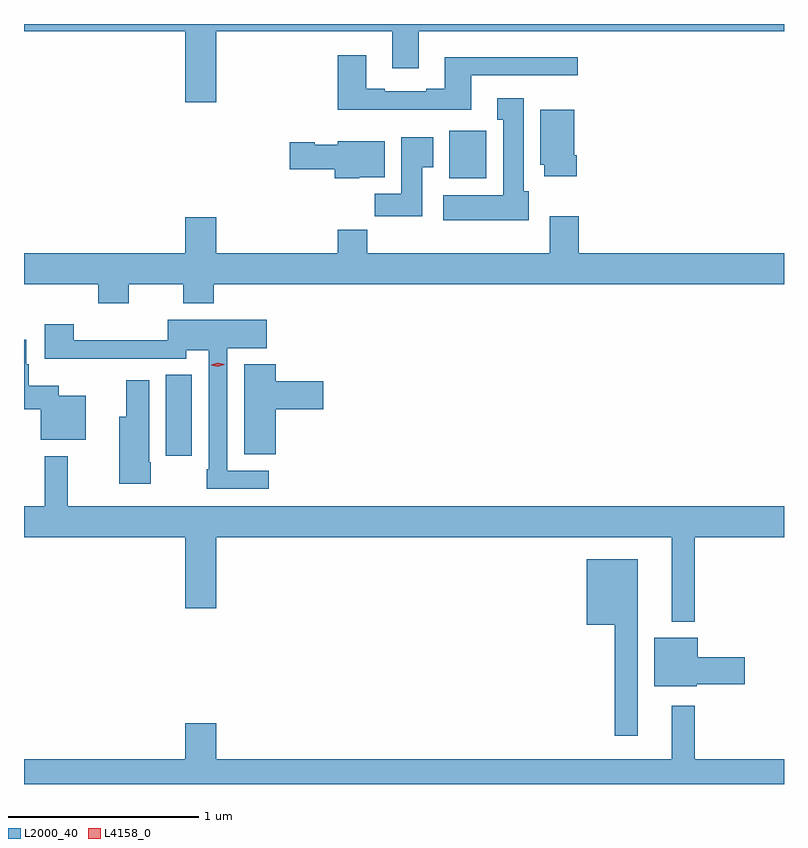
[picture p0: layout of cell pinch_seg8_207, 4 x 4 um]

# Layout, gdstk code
import gdstk
lib = gdstk.Library(unit=1e-6, precision=1e-09)
def R(c, l, rs):  # rectangles x0, y0, x1, y1
    for r in rs: c.add(gdstk.rectangle(r[:2], r[2:], *l))
def P(c, l, *ps):  # polygons
    for p in ps: c.add(gdstk.Polygon(p, *l))
L2000_40 = (2000, 40)
L4158_0 = (4158, 0)

pinch_seg8_207 = lib.new_cell('pinch_seg8_207')
R(pinch_seg8_207, L2000_40, [(632.438,1092.954,632.575,1093.379), (633.929,1094.414,634.125,1094.665)])
P(pinch_seg8_207, L2000_40, [(632.704,1095.188),(633.629,1095.188),(633.629,1094.994),(633.769,1094.994),(633.769,1095.188),(635.691,1095.188),(635.691,1095.226),(631.691,1095.226),(631.691,1095.188),(632.54,1095.188),(632.54,1094.814),(632.704,1094.814)],
  [(634.045,1094.955),(634.606,1094.955),(634.606,1095.052),(633.905,1095.052),(633.905,1094.884),(633.809,1094.884),(633.809,1094.871),(633.589,1094.871),(633.589,1094.884),(633.493,1094.884),(633.493,1095.061),(633.341,1095.061),(633.341,1094.774),(634.045,1094.774)],
  [(634.348,1094.346),(634.321,1094.346),(634.321,1094.836),(634.181,1094.836),(634.181,1094.723),(634.214,1094.723),(634.214,1094.326),(633.897,1094.326),(633.897,1094.192),(634.348,1094.192)],
  [(634.601,1094.536),(634.588,1094.536),(634.588,1094.776),(634.409,1094.776),(634.409,1094.484),(634.43,1094.484),(634.43,1094.424),(634.601,1094.424)],
  [(633.787,1094.473),(633.844,1094.473),(633.844,1094.629),(633.677,1094.629),(633.677,1094.332),(633.538,1094.332),(633.538,1094.214),(633.787,1094.214)],
  [(633.456,1094.42),(633.589,1094.42),(633.589,1094.608),(633.342,1094.608),(633.342,1094.59),(633.222,1094.59),(633.222,1094.603),(633.09,1094.603),(633.09,1094.461),(633.326,1094.461),(633.326,1094.414),(633.456,1094.414)],
  [(632.241,1093.856),(632.53,1093.856),(632.53,1093.757),(632.69,1093.757),(632.69,1093.856),(635.691,1093.856),(635.691,1094.02),(634.61,1094.02),(634.61,1094.215),(634.457,1094.215),(634.457,1094.02),(633.497,1094.02),(633.497,1094.144),(633.341,1094.144),(633.341,1094.02),(632.704,1094.02),(632.704,1094.209),(632.54,1094.209),(632.54,1094.02),(631.691,1094.02),(631.691,1093.856),(632.081,1093.856),(632.081,1093.757),(632.241,1093.757)],
  [(632.98,1092.876),(632.76,1092.876),(632.76,1093.52),(632.968,1093.52),(632.968,1093.669),(632.448,1093.669),(632.448,1093.562),(631.952,1093.562),(631.952,1093.645),(631.799,1093.645),(631.799,1093.463),(632.035,1093.463),(632.035,1093.464),(632.544,1093.464),(632.544,1093.508),(632.664,1093.508),(632.664,1092.883),(632.652,1092.883),(632.652,1092.78),(632.98,1092.78)],
  [(632.017,1093.27),(631.875,1093.27),(631.875,1093.321),(631.715,1093.321),(631.715,1093.434),(631.702,1093.434),(631.702,1093.564),(631.691,1093.564),(631.691,1093.199),(631.779,1093.199),(631.779,1093.037),(632.017,1093.037)],
  [(633.016,1093.199),(633.265,1093.199),(633.265,1093.346),(633.016,1093.346),(633.016,1093.435),(632.849,1093.435),(632.849,1092.961),(633.016,1092.961)],
  [(632.358,1092.919),(632.35,1092.919),(632.35,1093.351),(632.228,1093.351),(632.228,1093.159),(632.192,1093.159),(632.192,1092.807),(632.358,1092.807)],
  [(635.221,1092.524),(635.691,1092.524),(635.691,1092.688),(631.922,1092.688),(631.922,1092.952),(631.801,1092.952),(631.801,1092.688),(631.691,1092.688),(631.691,1092.524),(632.54,1092.524),(632.54,1092.15),(632.704,1092.15),(632.704,1092.524),(635.099,1092.524),(635.099,1092.08),(635.221,1092.08)],
  [(634.921,1092.409),(634.652,1092.409),(634.652,1092.065),(634.8,1092.065),(634.8,1091.481),(634.921,1091.481)],
  [(635.232,1091.752),(635.485,1091.752),(635.485,1091.894),(635.236,1091.894),(635.236,1091.995),(635.009,1091.995),(635.009,1091.741),(635.232,1091.741)],
  [(632.704,1091.545),(632.54,1091.545),(632.54,1091.356),(631.691,1091.356),(631.691,1091.226),(635.691,1091.226),(635.691,1091.356),(635.221,1091.356),(635.221,1091.638),(635.099,1091.638),(635.099,1091.356),(632.704,1091.356)])
P(pinch_seg8_207, L4158_0, [(632.712,1093.422),(632.677,1093.431),(632.676,1093.432),(632.677,1093.432),(632.711,1093.442),(632.746,1093.434),(632.746,1093.433),(632.746,1093.433)])

lib.write_gds('pinch_seg8_207.gds')
